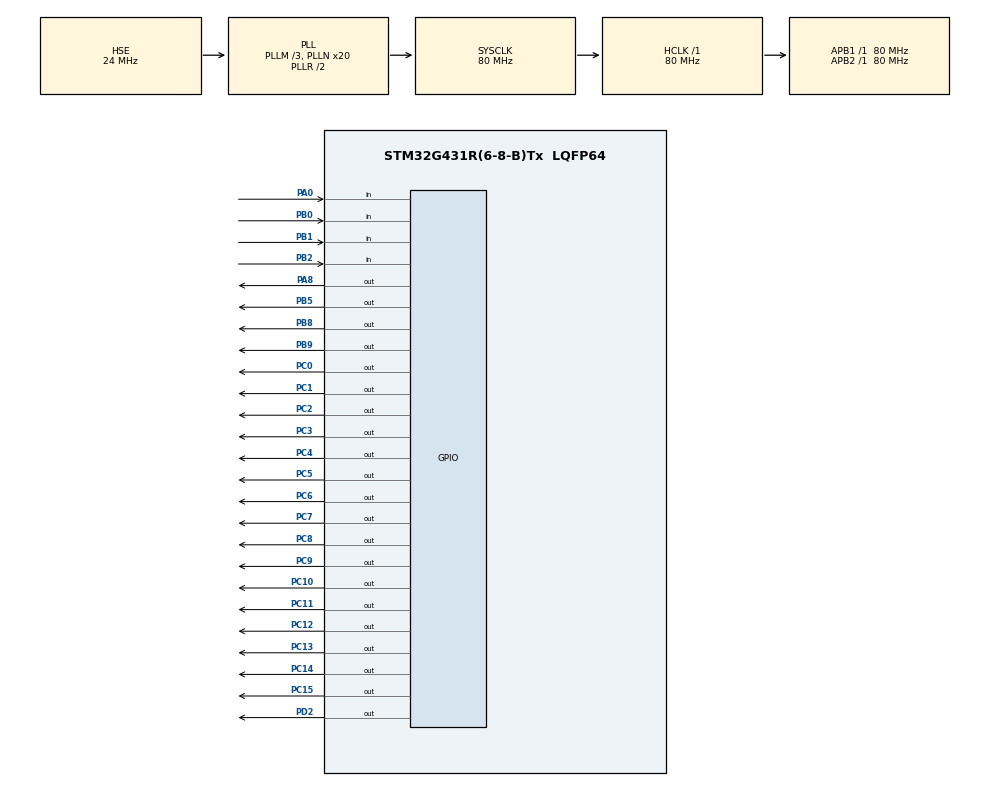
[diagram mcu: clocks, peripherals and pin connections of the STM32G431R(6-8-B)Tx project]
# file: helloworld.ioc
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Mcu.Family=STM32G4
Mcu.Name=STM32G431R(6-8-B)Tx
Mcu.Package=LQFP64
NVIC.PriorityGroup=NVIC_PRIORITYGROUP_4
NVIC.TIM3_IRQn=true\:0\:0\:false\:false\:true\:true\:true\:true
PA0.GPIO_PuPd=GPIO_PULLUP
PA0.Signal=GPIO_Input
PA13.Mode=Serial_Wire
PA13.Signal=SYS_JTMS-SWDIO
PA14.Mode=Serial_Wire
PA14.Signal=SYS_JTCK-SWCLK
PA8.Signal=GPIO_Output
PB0.GPIO_PuPd=GPIO_PULLUP
PB0.Signal=GPIO_Input
PB1.GPIO_PuPd=GPIO_PULLUP
PB1.Signal=GPIO_Input
PB2.GPIO_PuPd=GPIO_PULLUP
PB2.Signal=GPIO_Input
PB5.Signal=GPIO_Output
PB8-BOOT0.Signal=GPIO_Output
PB9.Signal=GPIO_Output
PC0.Signal=GPIO_Output
PC1.Signal=GPIO_Output
PC10.PinState=GPIO_PIN_SET
PC10.Signal=GPIO_Output
PC11.PinState=GPIO_PIN_SET
PC11.Signal=GPIO_Output
PC12.PinState=GPIO_PIN_SET
PC12.Signal=GPIO_Output
PC13.PinState=GPIO_PIN_SET
PC13.Signal=GPIO_Output
PC14-OSC32_IN.PinState=GPIO_PIN_SET
PC14-OSC32_IN.Signal=GPIO_Output
PC15-OSC32_OUT.PinState=GPIO_PIN_SET
PC15-OSC32_OUT.Signal=GPIO_Output
PC2.Signal=GPIO_Output
PC3.Signal=GPIO_Output
PC4.Signal=GPIO_Output
PC5.Signal=GPIO_Output
PC6.Signal=GPIO_Output
PC7.Signal=GPIO_Output
PC8.PinState=GPIO_PIN_SET
PC8.Signal=GPIO_Output
PC9.PinState=GPIO_PIN_SET
PC9.Signal=GPIO_Output
PD2.Signal=GPIO_Output
PF0-OSC_IN.Mode=HSE-External-Oscillator
PF0-OSC_IN.Signal=RCC_OSC_IN
PF1-OSC_OUT.Mode=HSE-External-Oscillator
PF1-OSC_OUT.Signal=RCC_OSC_OUT
ProjectManager.HeapSize=0x200
ProjectManager.StackSize=0x400
ProjectManager.TargetToolchain=MDK-ARM V5.32
RCC.ADC12Freq_Value=80000000
RCC.AHBFreq_Value=80000000
RCC.APB1Freq_Value=80000000
RCC.APB1TimFreq_Value=80000000
RCC.APB2Freq_Value=80000000
RCC.APB2TimFreq_Value=80000000
RCC.CortexFreq_Value=80000000
RCC.EXTERNAL_CLOCK_VALUE=12288000
RCC.HCLKFreq_Value=80000000
RCC.HSE_VALUE=24000000
RCC.HSI48_VALUE=48000000
RCC.HSI_VALUE=16000000
RCC.LSE_VALUE=32768
RCC.PLLM=RCC_PLLM_DIV3
RCC.PLLN=20
RCC.PLLSourceVirtual=RCC_PLLSOURCE_HSE
RCC.SYSCLKFreq_VALUE=80000000
RCC.SYSCLKSource=RCC_SYSCLKSOURCE_PLLCLK
RCC.USBFreq_Value=80000000
RCC.VCOOutputFreq_Value=160000000
TIM3.AutoReloadPreload=TIM_AUTORELOAD_PRELOAD_DISABLE
TIM3.PeriodNoDither=10000-1
TIM3.Prescaler=80-1
VP_SYS_VS_DBSignals.Mode=DisableDeadBatterySignals
VP_TIM3_VS_ClockSourceINT.Mode=Internal
board=custom

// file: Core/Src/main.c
/* USER CODE BEGIN Header */
/**
  ******************************************************************************
  * @file           : main.c
  * @brief          : Main program body
  ******************************************************************************
  * @attention
  *
  * Copyright (c) 2026 STMicroelectronics.
  * All rights reserved.
  *
  * This software is licensed under terms that can be found in the LICENSE file
  * in the root directory of this software component.
  * If no LICENSE file comes with this software, it is provided AS-IS.
  *
  ******************************************************************************
  */
/* USER CODE END Header */
#include "main.h"
#include "tim.h"
#include "gpio.h"

/* USER CODE BEGIN Includes */
#include "led.h"
#include "lcd.h"
#include "interrupt.h"
#include <stdio.h>
/* USER CODE END Includes */

/* USER CODE BEGIN PV */
char buffer[108];
/* USER CODE END PV */

void SystemClock_Config(void);

int main(void)
{

  /* MCU Configuration--------------------------------------------------------*/

  /* Reset of all peripherals, Initializes the Flash interface and the Systick. */
  HAL_Init();

  /* Configure the system clock */
  SystemClock_Config();

  /* Initialize all configured peripherals */
  MX_GPIO_Init();
  MX_TIM3_Init();
  /* USER CODE BEGIN 2 */
	LCD_Init();
	LCD_Clear(Black);
	LED_clear();
	LCD_SetBackColor(Black);
	LCD_SetTextColor(White);
	HAL_TIM_Base_Start_IT(&htim3);
  /* USER CODE END 2 */

  /* Infinite loop */
  /* USER CODE BEGIN WHILE */
	int last = -1 , now , cnt , glaf = 0;
  while (1)
  {	/*
		if(key[0].event){key[0].event = 0;now = key[0].event;LCD_Clear(Black);}

		//sprintf(buffer,"    %d% d %d      ",key[0].cnt,key[0].endflag,key[0].sta);
		//LCD_DisplayStringLine(Line4,(uint8_t *)buffer);
		if(!key[0].state){LCD_DisplayStringLine(Line0,"No Action");}
		else if(key[0].state==2 && now == ){LCD_DisplayStringLine(Line1,"Long Shot");}
		else if(key[0].state==4 && key[0].multi_cnt){
			if(key[0].click_cnt > 1){
				sprintf(buffer,"%d multi-Shot",key[0].click_cnt);
				LCD_DisplayStringLine(Line2,buffer);
			}else if(!key[0].long_flag)LCD_DisplayStringLine(Line1,"Single Shot");
		}*/

		/*if(key[0].event){LCD_Clear(Black);
			if(key[0].event == 1)LCD_DisplayStringLine(Line1,"Single Shot");
			else if(key[0].event == 2)LCD_DisplayStringLine(Line2,"Long Shot");
			else if(key[0].event == 3){
				sprintf(buffer,"%d multi-Shot",key[0].discnt);
				LCD_DisplayStringLine(Line3,buffer);
			}
		}*/

		if(!key[0].state)now = 0;
		else now = key[0].event;
		key[0].event = 0;
		if(now==2)HAL_Delay(1);
		if(now!=last){
			LCD_Clear(Black);
			if(now == 1)LCD_DisplayStringLine(Line1,"Single Shot");
			else if(now == 2)LCD_DisplayStringLine(Line2,"Long Shot");
			else if(now == 3){
				sprintf(buffer,"%d multi-Shot",key[0].discnt);
				LCD_DisplayStringLine(Line3,buffer);
			}
			HAL_Delay(100);
		}// LCD_DisplayStringLine(Line0,"No Action");

		last = now;

    /* USER CODE END WHILE */

  }
}

void SystemClock_Config(void)
{
  RCC_OscInitTypeDef RCC_OscInitStruct = {0};
  RCC_ClkInitTypeDef RCC_ClkInitStruct = {0};

  /** Configure the main internal regulator output voltage
  */
  HAL_PWREx_ControlVoltageScaling(PWR_REGULATOR_VOLTAGE_SCALE1);

  /** Initializes the RCC Oscillators according to the specified parameters
  * in the RCC_OscInitTypeDef structure.
  */
  RCC_OscInitStruct.OscillatorType = RCC_OSCILLATORTYPE_HSE;
  RCC_OscInitStruct.HSEState = RCC_HSE_ON;
  RCC_OscInitStruct.PLL.PLLState = RCC_PLL_ON;
  RCC_OscInitStruct.PLL.PLLSource = RCC_PLLSOURCE_HSE;
  RCC_OscInitStruct.PLL.PLLM = RCC_PLLM_DIV3;
  RCC_OscInitStruct.PLL.PLLN = 20;
  RCC_OscInitStruct.PLL.PLLP = RCC_PLLP_DIV2;
  RCC_OscInitStruct.PLL.PLLQ = RCC_PLLQ_DIV2;
  RCC_OscInitStruct.PLL.PLLR = RCC_PLLR_DIV2;
  if (HAL_RCC_OscConfig(&RCC_OscInitStruct) != HAL_OK)
  {
    Error_Handler();
  }

  /** Initializes the CPU, AHB and APB buses clocks
  */
  RCC_ClkInitStruct.ClockType = RCC_CLOCKTYPE_HCLK|RCC_CLOCKTYPE_SYSCLK
                              |RCC_CLOCKTYPE_PCLK1|RCC_CLOCKTYPE_PCLK2;
  RCC_ClkInitStruct.SYSCLKSource = RCC_SYSCLKSOURCE_PLLCLK;
  RCC_ClkInitStruct.AHBCLKDivider = RCC_SYSCLK_DIV1;
  RCC_ClkInitStruct.APB1CLKDivider = RCC_HCLK_DIV1;
  RCC_ClkInitStruct.APB2CLKDivider = RCC_HCLK_DIV1;

  if (HAL_RCC_ClockConfig(&RCC_ClkInitStruct, FLASH_LATENCY_2) != HAL_OK)
  {
    Error_Handler();
  }
}

void Error_Handler(void)
{
  __disable_irq();
  while (1)
  {
  }
}
